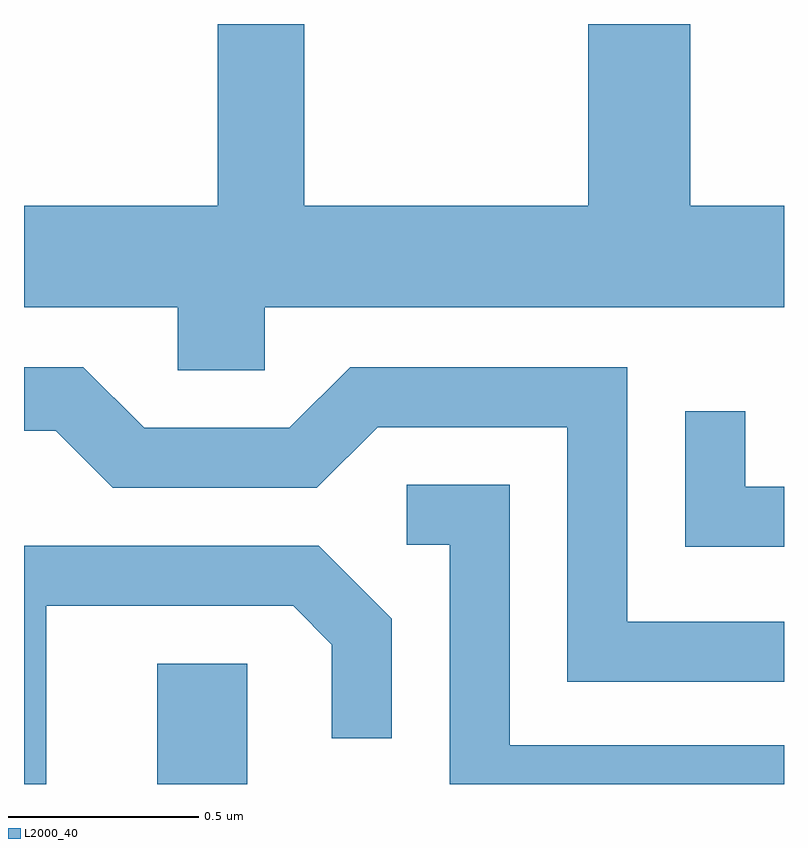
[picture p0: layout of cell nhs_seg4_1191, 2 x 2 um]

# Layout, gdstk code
import gdstk
lib = gdstk.Library(unit=1e-6, precision=1e-09)
def R(c, l, rs):  # rectangles x0, y0, x1, y1
    for r in rs: c.add(gdstk.rectangle(r[:2], r[2:], *l))
def P(c, l, *ps):  # polygons
    for p in ps: c.add(gdstk.Polygon(p, *l))
L2000_40 = (2000, 40)

nhs_seg4_1191 = lib.new_cell('nhs_seg4_1191')
R(nhs_seg4_1191, L2000_40, [(193.961,1348.982,194.199,1349.299)])
P(nhs_seg4_1191, L2000_40, [(194.244,1350.236),(195.611,1350.236),(195.611,1350.504),(195.364,1350.504),(195.364,1350.982),(195.096,1350.982),(195.096,1350.504),(194.349,1350.504),(194.349,1350.982),(194.121,1350.982),(194.121,1350.504),(193.611,1350.504),(193.611,1350.236),(194.016,1350.236),(194.016,1350.071),(194.244,1350.071)],
  [(195.611,1349.409),(195.199,1349.409),(195.199,1350.079),(194.469,1350.079),(194.309,1349.919),(193.927,1349.919),(193.767,1350.079),(193.611,1350.079),(193.611,1349.911),(193.694,1349.911),(193.844,1349.761),(194.382,1349.761),(194.542,1349.921),(195.041,1349.921),(195.041,1349.251),(195.611,1349.251)],
  [(195.611,1349.764),(195.509,1349.764),(195.509,1349.963),(195.351,1349.963),(195.351,1349.606),(195.611,1349.606)],
  [(195.611,1349.084),(194.889,1349.084),(194.889,1349.769),(194.618,1349.769),(194.618,1349.611),(194.731,1349.611),(194.731,1348.982),(195.611,1348.982)],
  [(193.669,1349.451),(194.319,1349.451),(194.421,1349.349),(194.421,1349.103),(194.579,1349.103),(194.579,1349.417),(194.387,1349.609),(193.611,1349.609),(193.611,1348.982),(193.669,1348.982)])

lib.write_gds('nhs_seg4_1191.gds')
